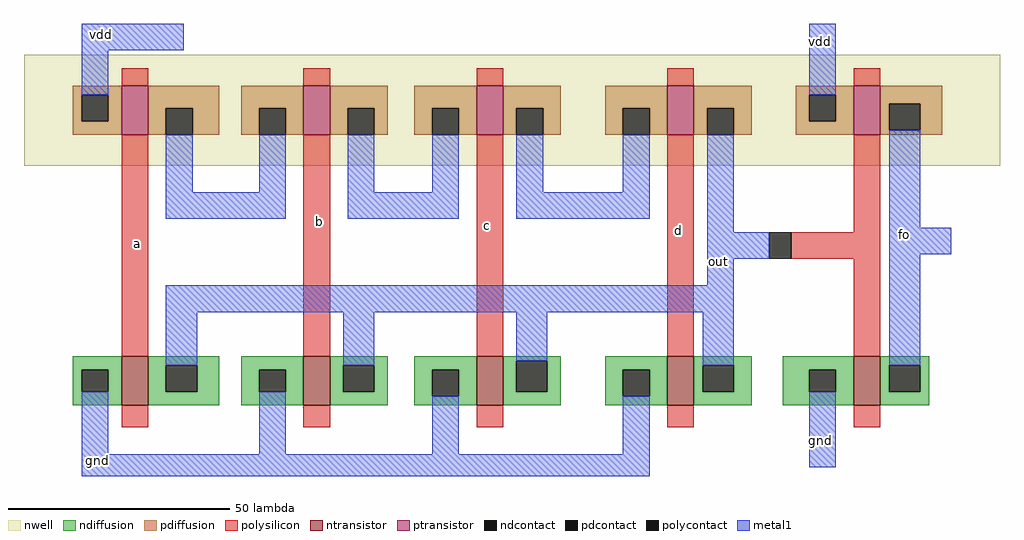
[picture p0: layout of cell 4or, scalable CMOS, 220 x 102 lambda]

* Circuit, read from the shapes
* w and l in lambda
.subckt 4or a b c d fo gnd out vdd
M1 out a gnd VSUBS nfet w=11 l=6
M2 out b gnd VSUBS nfet w=11 l=6
M3 out c gnd VSUBS nfet w=11 l=6
M4 out d gnd VSUBS nfet w=11 l=6
M5 fo out gnd VSUBS nfet w=11 l=6
M6 n1 a vdd n2 pfet w=11 l=6
M7 n3 b n1 n2 pfet w=11 l=6
M8 n4 c n3 n2 pfet w=11 l=6
M9 out d n4 n2 pfet w=11 l=6
M10 fo out vdd n2 pfet w=11 l=6
.ends

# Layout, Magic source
magic
tech scmos
<< nwell >>
rect -53 0 167 25
<< ntransistor >>
rect -31 -54 -25 -43
rect 10 -54 16 -43
rect 49 -54 55 -43
rect 92 -54 98 -43
rect 134 -54 140 -43
<< ptransistor >>
rect -31 7 -25 18
rect 10 7 16 18
rect 49 7 55 18
rect 92 7 98 18
rect 134 7 140 18
<< ndiffusion >>
rect -42 -46 -31 -43
rect -42 -51 -40 -46
rect -34 -51 -31 -46
rect -42 -54 -31 -51
rect -25 -45 -9 -43
rect -25 -51 -21 -45
rect -14 -51 -9 -45
rect -25 -54 -9 -51
rect -4 -46 10 -43
rect -4 -51 0 -46
rect 6 -51 10 -46
rect -4 -54 10 -51
rect 16 -45 29 -43
rect 16 -51 19 -45
rect 26 -51 29 -45
rect 16 -54 29 -51
rect 35 -46 49 -43
rect 35 -52 39 -46
rect 45 -52 49 -46
rect 35 -54 49 -52
rect 55 -44 68 -43
rect 55 -51 58 -44
rect 65 -51 68 -44
rect 55 -54 68 -51
rect 78 -46 92 -43
rect 78 -52 82 -46
rect 88 -52 92 -46
rect 78 -54 92 -52
rect 98 -45 111 -43
rect 98 -51 100 -45
rect 107 -51 111 -45
rect 98 -54 111 -51
rect 118 -46 134 -43
rect 118 -51 124 -46
rect 130 -51 134 -46
rect 118 -54 134 -51
rect 140 -45 151 -43
rect 140 -51 142 -45
rect 149 -51 151 -45
rect 140 -54 151 -51
<< pdiffusion >>
rect -42 16 -31 18
rect -42 10 -40 16
rect -34 10 -31 16
rect -42 7 -31 10
rect -25 13 -9 18
rect -25 7 -21 13
rect -15 7 -9 13
rect -4 13 10 18
rect -4 7 0 13
rect 6 7 10 13
rect 16 13 29 18
rect 16 7 20 13
rect 26 7 29 13
rect 35 13 49 18
rect 35 7 39 13
rect 45 7 49 13
rect 55 13 68 18
rect 55 7 58 13
rect 64 7 68 13
rect 78 13 92 18
rect 78 7 82 13
rect 88 7 92 13
rect 98 13 111 18
rect 98 7 101 13
rect 107 7 111 13
rect 121 16 134 18
rect 121 10 124 16
rect 130 10 134 16
rect 121 7 134 10
rect 140 14 154 18
rect 140 8 142 14
rect 149 8 154 14
rect 140 7 154 8
<< ndcontact >>
rect -40 -51 -34 -46
rect -21 -51 -14 -45
rect 0 -51 6 -46
rect 19 -51 26 -45
rect 39 -52 45 -46
rect 58 -51 65 -44
rect 82 -52 88 -46
rect 100 -51 107 -45
rect 124 -51 130 -46
rect 142 -51 149 -45
<< pdcontact >>
rect -40 10 -34 16
rect -21 7 -15 13
rect 0 7 6 13
rect 20 7 26 13
rect 39 7 45 13
rect 58 7 64 13
rect 82 7 88 13
rect 101 7 107 13
rect 124 10 130 16
rect 142 8 149 14
<< polysilicon >>
rect -31 18 -25 22
rect 10 18 16 22
rect 49 18 55 22
rect 92 18 98 22
rect 134 18 140 22
rect -31 -43 -25 7
rect 10 -43 16 7
rect 49 -43 55 7
rect 92 -43 98 7
rect 134 -15 140 7
rect 120 -21 140 -15
rect 134 -43 140 -21
rect -31 -59 -25 -54
rect 10 -59 16 -54
rect 49 -59 55 -54
rect 92 -59 98 -54
rect 134 -59 140 -54
<< polycontact >>
rect 115 -21 120 -15
<< metal1 >>
rect -40 26 -17 32
rect -40 16 -34 26
rect 124 16 130 32
rect -21 -6 -15 7
rect 0 -6 6 7
rect -21 -12 6 -6
rect 20 -6 26 7
rect 39 -6 45 7
rect 20 -12 45 -6
rect 58 -6 64 7
rect 82 -6 88 7
rect 58 -12 88 -6
rect 101 -15 107 7
rect 142 -14 149 8
rect 101 -21 115 -15
rect 142 -20 156 -14
rect 101 -27 107 -21
rect -21 -33 107 -27
rect -21 -45 -14 -33
rect 19 -45 26 -33
rect 58 -44 65 -33
rect -40 -65 -34 -51
rect 0 -65 6 -51
rect 100 -45 107 -33
rect 39 -65 45 -52
rect 142 -45 149 -20
rect 82 -65 88 -52
rect -40 -70 88 -65
rect 124 -68 130 -51
<< labels >>
rlabel metal1 -36 29 -35 30 5 vdd
rlabel metal1 -37 -67 -36 -66 1 gnd
rlabel polysilicon -28 -18 -27 -17 1 a
rlabel polysilicon 13 -13 14 -12 1 b
rlabel polysilicon 51 -14 52 -13 1 c
rlabel polysilicon 94 -15 95 -14 1 d
rlabel metal1 103 -22 104 -21 1 out
rlabel metal1 126 27 127 29 5 vdd
rlabel metal1 126 -63 127 -61 1 gnd
rlabel metal1 142 -24 149 -7 1 fo
<< end >>
